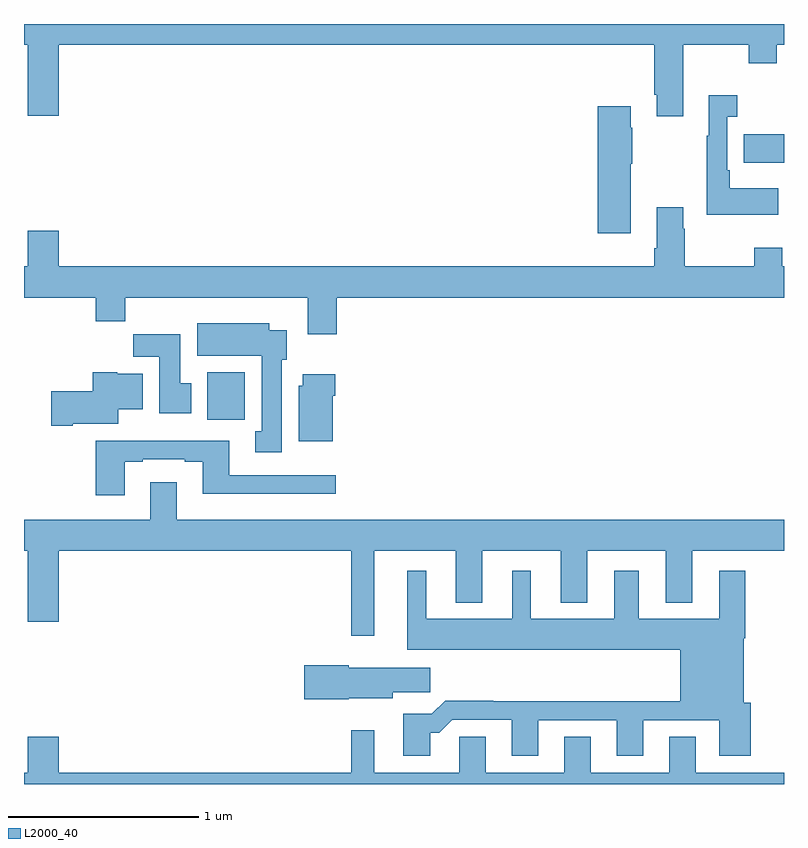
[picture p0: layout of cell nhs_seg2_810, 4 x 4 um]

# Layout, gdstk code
import gdstk
lib = gdstk.Library(unit=1e-6, precision=1e-09)
def R(c, l, rs):  # rectangles x0, y0, x1, y1
    for r in rs: c.add(gdstk.rectangle(r[:2], r[2:], *l))
def P(c, l, *ps):  # polygons
    for p in ps: c.add(gdstk.Polygon(p, *l))
L2000_40 = (2000, 40)

nhs_seg2_810 = lib.new_cell('nhs_seg2_810')
R(nhs_seg2_810, L2000_40, [(153.965,589.716,154.161,589.966), (156.787,591.071,157,591.219)])
P(nhs_seg2_810, L2000_40, [(156.469,591.692),(156.814,591.692),(156.814,591.593),(156.961,591.593),(156.961,591.692),(157,591.692),(157,591.8),(153,591.8),(153,591.692),(153.02,591.692),(153.02,591.318),(153.184,591.318),(153.184,591.692),(156.317,591.692),(156.317,591.427),(156.329,591.427),(156.329,591.315),(156.469,591.315)],
  [(156.971,590.935),(156.715,590.935),(156.715,591.031),(156.702,591.031),(156.702,591.311),(156.754,591.311),(156.754,591.424),(156.605,591.424),(156.605,591.211),(156.594,591.211),(156.594,590.795),(156.971,590.795)],
  [(156.193,591.065),(156.201,591.065),(156.201,591.254),(156.193,591.254),(156.193,591.367),(156.02,591.367),(156.02,590.7),(156.193,590.7)],
  [(154.646,590.36),(157,590.36),(157,590.524),(156.99,590.524),(156.99,590.623),(156.844,590.623),(156.844,590.524),(156.477,590.524),(156.477,590.723),(156.469,590.723),(156.469,590.836),(156.329,590.836),(156.329,590.62),(156.317,590.62),(156.317,590.524),(153.184,590.524),(153.184,590.713),(153.02,590.713),(153.02,590.524),(153,590.524),(153,590.36),(153.377,590.36),(153.377,590.236),(153.533,590.236),(153.533,590.36),(154.493,590.36),(154.493,590.166),(154.646,590.166)],
  [(154.357,590.034),(154.384,590.034),(154.384,590.188),(154.291,590.188),(154.291,590.224),(153.911,590.224),(153.911,590.054),(154.25,590.054),(154.25,589.657),(154.217,589.657),(154.217,589.545),(154.357,589.545)],
  [(153.88,589.908),(153.823,589.908),(153.823,590.166),(153.574,590.166),(153.574,590.048),(153.713,590.048),(153.713,589.752),(153.88,589.752)],
  [(153.256,589.697),(153.496,589.697),(153.496,589.772),(153.625,589.772),(153.625,589.96),(153.492,589.96),(153.492,589.966),(153.362,589.966),(153.362,589.868),(153.144,589.868),(153.144,589.685),(153.256,589.685)],
  [(154.624,589.844),(154.637,589.844),(154.637,589.957),(154.466,589.957),(154.466,589.896),(154.445,589.896),(154.445,589.604),(154.624,589.604)],
  [(153.529,589.497),(153.625,589.497),(153.625,589.509),(153.845,589.509),(153.845,589.497),(153.941,589.497),(153.941,589.328),(154.642,589.328),(154.642,589.425),(154.081,589.425),(154.081,589.606),(153.377,589.606),(153.377,589.32),(153.529,589.32)],
  [(154.843,589.028),(155.273,589.028),(155.273,588.755),(155.413,588.755),(155.413,589.028),(155.825,589.028),(155.825,588.755),(155.965,588.755),(155.965,589.028),(156.377,589.028),(156.377,588.755),(156.517,588.755),(156.517,589.028),(157,589.028),(157,589.192),(153.805,589.192),(153.805,589.387),(153.665,589.387),(153.665,589.192),(153,589.192),(153,589.028),(153.02,589.028),(153.02,588.654),(153.184,588.654),(153.184,589.028),(154.722,589.028),(154.722,588.579),(154.843,588.579)],
  [(155.137,588.071),(155.186,588.071),(155.253,588.138),(155.567,588.138),(155.567,587.949),(155.707,587.949),(155.707,588.135),(156.119,588.135),(156.119,587.949),(156.259,587.949),(156.259,588.135),(156.659,588.135),(156.659,587.949),(156.824,587.949),(156.824,588.228),(156.787,588.228),(156.787,588.566),(156.795,588.566),(156.795,588.922),(156.659,588.922),(156.659,588.67),(156.235,588.67),(156.235,588.922),(156.107,588.922),(156.107,588.67),(155.668,588.67),(155.668,588.922),(155.57,588.922),(155.57,588.67),(155.116,588.67),(155.116,588.922),(155.018,588.922),(155.018,588.506),(156.455,588.506),(156.455,588.236),(155.471,588.236),(155.471,588.239),(155.216,588.239),(155.146,588.169),(154.997,588.169),(154.997,587.949),(155.137,587.949)],
  [(154.71,588.251),(154.942,588.251),(154.942,588.283),(155.137,588.283),(155.137,588.412),(154.71,588.412),(154.71,588.425),(154.476,588.425),(154.476,588.247),(154.71,588.247)],
  [(153.184,588.049),(153.02,588.049),(153.02,587.86),(153,587.86),(153,587.8),(157,587.8),(157,587.86),(156.535,587.86),(156.535,588.05),(156.395,588.05),(156.395,587.86),(155.983,587.86),(155.983,588.05),(155.843,588.05),(155.843,587.86),(155.431,587.86),(155.431,588.05),(155.292,588.05),(155.292,587.86),(154.843,587.86),(154.843,588.082),(154.722,588.082),(154.722,587.86),(153.184,587.86)])

lib.write_gds('nhs_seg2_810.gds')
